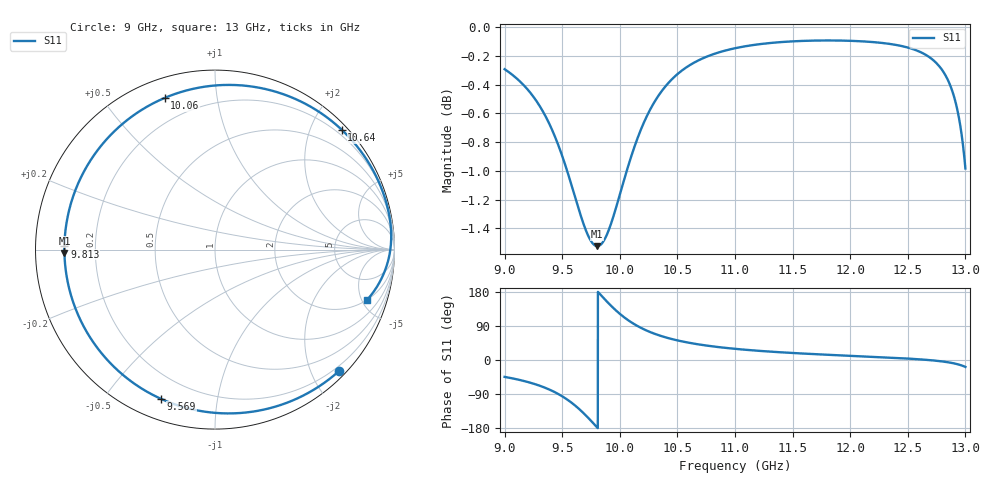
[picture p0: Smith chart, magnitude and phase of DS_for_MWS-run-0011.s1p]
! TOUCHSTONE file generated by CST DESIGN STUDIO
! Date and time: Tue Feb  4 18:04:08 2025
! Project name: C:\Work\MatlabApps\UnitCellOptimizationMatlab\CST\unitcell.cst
! Tree item: Tasks\Sweep1\SPara1\S-Parameters
! Header version: 2024
! Port assignment regex: !\s*Touchstone port\s*([0-9]+)\s*=\s*(CST MWS port|CST DES external port|CST DES block port)\s*(.+)\s* \(\"(.*)\"\)(\s*mode\s*([0-9]+))?.*
! Touchstone port assignment:
! Touchstone port 1 = CST DES external port 1 ("")
# GHz S MA R 50
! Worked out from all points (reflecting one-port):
!   4001 points, 9 GHz to 13 GHz, reference 50 ohm
!   lowest |S11| = -1.5 dB at 9.805 GHz (marker M1), VSWR 11.43, Z = 4.38 - j0.634 ohm
!   phase of S11 starts at -45 deg and turns -334 deg over the sweep
!   S11 on the Smith chart (normalised r, x): 9 GHz: 0.12, -2.44; 9.569 GHz: 0.09, -0.70; 9.813 GHz: 0.09, +0.01; 10.06 GHz: 0.09, +0.72; 10.64 GHz: 0.10, +2.51; 13 GHz: 2.00, -5.52
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9  0.967 -44.5
9.146  0.9564 -53.7
9.277  0.9425 -65.0
9.391  0.925 -78.4
9.5  0.902 -95.8
9.569  0.8843 -109.9
9.625  0.8692 -123.5
9.68  0.8553 -138.7
9.746  0.843 -159.1
9.805  0.839 -178.5
9.813  0.8391 178.8
9.853  0.8418 165.5
9.895  0.8482 152.0
9.948  0.8602 136.0
10  0.8744 121.9
10.057  0.8904 108.3
10.148  0.9136 90.6
10.265  0.9364 73.5
10.375  0.9514 61.8
10.5  0.9631 51.7
10.639  0.9718 43.4
11  0.9833 29.5
11.5  0.9888 18.5
12  0.9892 11.1
12.5  0.9839 3.8
12.809  0.9649 -4.2
12.918  0.9405 -10.1
13  0.8929 -18.3
